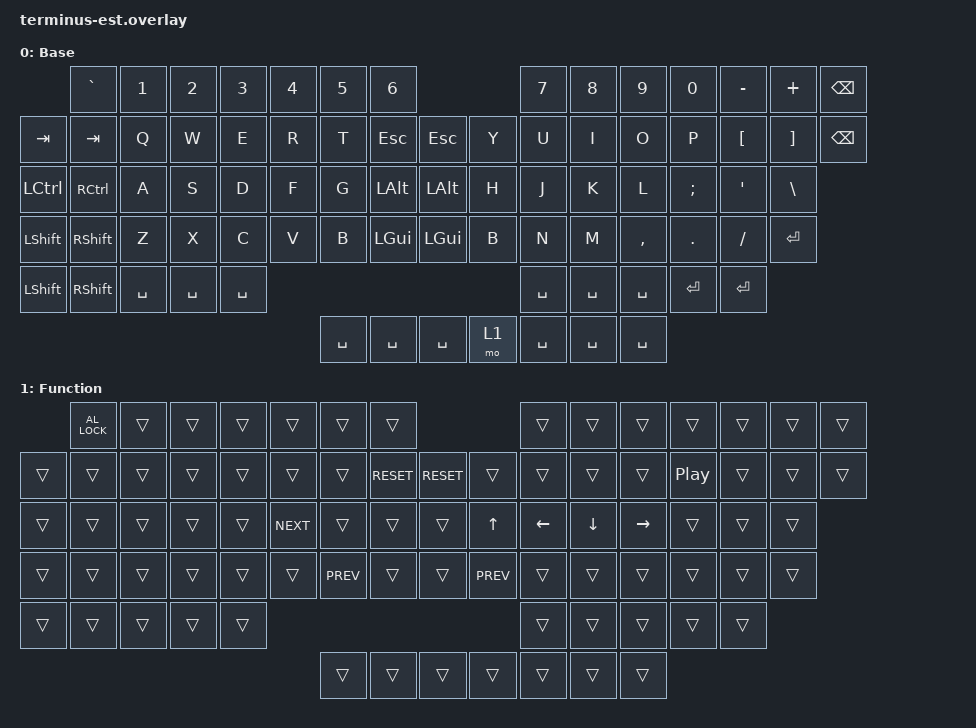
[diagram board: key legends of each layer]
#include <behaviors.dtsi>
#include <dt-bindings/zmk/keys.h>
#include <dt-bindings/zmk/matrix_transform.h>

/ {
    matrix_transform0: keymap_transform0 {
        compatible = "zmk,matrix-transform";
        columns = <22>;
        rows = <6>;
        map = <
        //  COL0     COL1     COL2     COL3     COL4     COL5     COL6     COL7     COL8     COL9     COL10    COL11    COL12    COL13    COL14    COL15    COL16    COL17    COL18    COL19    COL20    COL21
        //  RC(0,0)  RC(0,1)  RC(0,2)  RC(0,3)  RC(0,4)  RC(0,5)  RC(0,6)  RC(0,7)  RC(0,8)  RC(0,9)  RC(0,10) RC(0,11) RC(0,12) RC(0,13) RC(0,14) RC(0,15) RC(0,16) RC(0,17) RC(0,18) RC(0,19) RC(0,20) RC(0,21)              // ROW
                     RC(0,1)  RC(0,2)  RC(0,3)  RC(0,4)  RC(0,5)  RC(0,6)  RC(0,7)                                                                 RC(0,15) RC(0,16) RC(0,17) RC(0,18) RC(0,19) RC(0,20)                       // ROW0
            RC(1,0)  RC(1,1)  RC(1,2)  RC(1,3)  RC(1,4)  RC(1,5)  RC(1,6)                    RC(1,9)                    RC(1,12)          RC(1,14) RC(1,15) RC(1,16) RC(1,17) RC(1,18) RC(1,19) RC(1,20) RC(1,21)              // ROW1
            RC(2,0)  RC(2,1)  RC(2,2)  RC(2,3)  RC(2,4)  RC(2,5)  RC(2,6)                    RC(2,9)                    RC(2,12)          RC(2,14) RC(2,15) RC(2,16) RC(2,17) RC(2,18) RC(2,19) RC(2,20)                       // ROW2
                     RC(3,1)  RC(3,2)  RC(3,3)  RC(3,4)  RC(3,5)  RC(3,6)  RC(3,7)           RC(3,9)                    RC(3,12)          RC(3,14) RC(3,15) RC(3,16) RC(3,17) RC(3,18) RC(3,19) RC(3,20)                       // ROW3
                     RC(4,1)  RC(4,2)                    RC(4,5)  RC(4,6)  RC(4,7)                                               RC(4,13) RC(4,14) RC(4,15)                   RC(4,18) RC(4,19)                                // ROW4
                                                                  RC(5,6)  RC(5,7)  RC(5,8)  RC(5,9)                             RC(5,13) RC(5,14) RC(5,15)                                                                    // ROW5

        >;
    };

    kscan0: kscan_0 {
        compatible = "zmk,kscan-gpio-matrix";
        wakeup-source;
        diode-direction = "col2row";

        col-gpios
            = <&gpio0 0 GPIO_ACTIVE_HIGH>   // COL0 - GP0
            , <&gpio0 1 GPIO_ACTIVE_HIGH>   // COL1 - GP1
            , <&gpio0 2 GPIO_ACTIVE_HIGH>   // COL2 - GP2
            , <&gpio0 3 GPIO_ACTIVE_HIGH>   // COL3 - GP3
            , <&gpio0 4 GPIO_ACTIVE_HIGH>   // COL4 - GP4
            , <&gpio0 5 GPIO_ACTIVE_HIGH>   // COL5 - GP5
            , <&gpio0 6 GPIO_ACTIVE_HIGH>   // COL6 - GP6
            , <&gpio0 7 GPIO_ACTIVE_HIGH>   // COL7 - GP7
            , <&gpio0 8 GPIO_ACTIVE_HIGH>   // COL8 - GP8
            , <&gpio0 9 GPIO_ACTIVE_HIGH>   // COL9 - GP9
                                            // COL10 - not connected
                                            // COL11 - not connected
            , <&gpio0 17 GPIO_ACTIVE_HIGH>  // COL12 - GP17
            , <&gpio0 18 GPIO_ACTIVE_HIGH>  // COL13 - GP18
            , <&gpio0 19 GPIO_ACTIVE_HIGH>  // COL14 - GP19
            , <&gpio0 20 GPIO_ACTIVE_HIGH>  // COL15 - GP20
            , <&gpio0 21 GPIO_ACTIVE_HIGH>  // COL16 - GP21
            , <&gpio0 22 GPIO_ACTIVE_HIGH>  // COL17 - GP22
            , <&gpio0 26 GPIO_ACTIVE_HIGH>  // COL18 - GP26
                                            // COL19 - not connected
            , <&gpio0 27 GPIO_ACTIVE_HIGH>  // COL20 - GP27
            , <&gpio0 28 GPIO_ACTIVE_HIGH>  // COL21 - GP28
            ;

        row-gpios
            = <&gpio0 10 (GPIO_ACTIVE_HIGH | GPIO_PULL_DOWN)> // ROW0 - GP10
            , <&gpio0 11 (GPIO_ACTIVE_HIGH | GPIO_PULL_DOWN)> // ROW1 - GP11
            , <&gpio0 12 (GPIO_ACTIVE_HIGH | GPIO_PULL_DOWN)> // ROW2 - GP12
            , <&gpio0 13 (GPIO_ACTIVE_HIGH | GPIO_PULL_DOWN)> // ROW3 - GP13
            , <&gpio0 15 (GPIO_ACTIVE_HIGH | GPIO_PULL_DOWN)> // ROW4 - GP15
            , <&gpio0 16 (GPIO_ACTIVE_HIGH | GPIO_PULL_DOWN)> // ROW5 - GP16
            ;
    };

    physical_layout0: physical_layout_0 {
        compatible = "zmk,physical-layout";
        display-name = "Default Layout";
        transform = <&matrix_transform0>;
    };

    chosen {
        zmk,kscan = &kscan0;
        zmk,physical-layout = &physical_layout0;
    };

    keymap {
        compatible = "zmk,keymap";

        default_layer {
            display-name = "Base";
            bindings = <
            //  COL0      COL1      COL2      COL3      COL4      COL5      COL6      COL7      COL8      COL9      COL10     COL11     COL12     COL13     COL14     COL15     COL16     COL17     COL18     COL19     COL20     COL21     // ROW
                          &kp GRAVE &kp N1    &kp N2    &kp N3    &kp N4    &kp N5    &kp N6                                                                          &kp N7    &kp N8    &kp N9    &kp N0    &kp MINUS &kp PLUS  &kp BSPC  // ROW0
                &kp TAB   &kp TAB   &kp Q     &kp W     &kp E     &kp R     &kp T                         &kp ESC                       &kp ESC             &kp Y     &kp U     &kp I     &kp O     &kp P     &kp LBKT  &kp RBKT  &kp BSPC  // ROW1
                &kp LCTL  &kp RCTL  &kp A     &kp S     &kp D     &kp F     &kp G                         &kp LALT                      &kp LALT            &kp H     &kp J     &kp K     &kp L     &kp SEMI  &kp SQT   &kp BSLH            // ROW2
                &kp LSHFT &kp RSHFT &kp Z     &kp X     &kp C     &kp V     &kp B                         &kp LGUI                      &kp LGUI            &kp B     &kp N     &kp M     &kp COMMA &kp DOT   &kp FSLH  &kp RET             // ROW3
                &kp LSHFT &kp RSHFT                               &kp SPACE &kp SPACE &kp SPACE                                                   &kp SPACE &kp SPACE &kp SPACE                     &kp RET   &kp RET                       // ROW4
                                                                            &kp SPACE &kp SPACE &kp SPACE &mo 1                                   &kp SPACE &kp SPACE &kp SPACE                                                           // ROW5
            >;
        };

        fn_layer {
            display-name = "Function";
            bindings = <
            //  COL0      COL1      COL2      COL3      COL4      COL5      COL6      COL7      COL8      COL9      COL10     COL11     COL12     COL13     COL14     COL15     COL16     COL17     COL18     COL19     COL20     COL21     // ROW
                   &kp C_AL_LOCK    &trans    &trans    &trans    &trans    &trans    &trans                                                                &trans    &trans    &trans    &trans    &trans    &trans    &trans              // ROW0
                &trans    &trans    &trans    &trans    &trans    &trans    &trans                      &kp C_RESET                   &kp C_RESET           &trans    &trans    &trans    &trans    &kp C_PP  &trans    &trans    &trans    // ROW1
                &trans    &trans    &trans    &trans    &trans   &kp C_NEXT &trans                        &trans                        &trans              &kp UP    &kp LEFT  &kp DOWN  &kp RIGHT &trans    &trans    &trans              // ROW2
                &trans    &trans    &trans    &trans    &trans    &trans   &kp C_PREV                     &trans                        &trans             &kp C_PREV &trans    &trans    &trans    &trans    &trans    &trans              // ROW3
                &trans    &trans                                  &trans    &trans    &trans                                                      &trans    &trans    &trans                                  &trans    &trans              // ROW4
                                                                            &trans    &trans    &trans    &trans                                  &trans    &trans    &trans                                                                // ROW5
            >;
        };
    };
};
